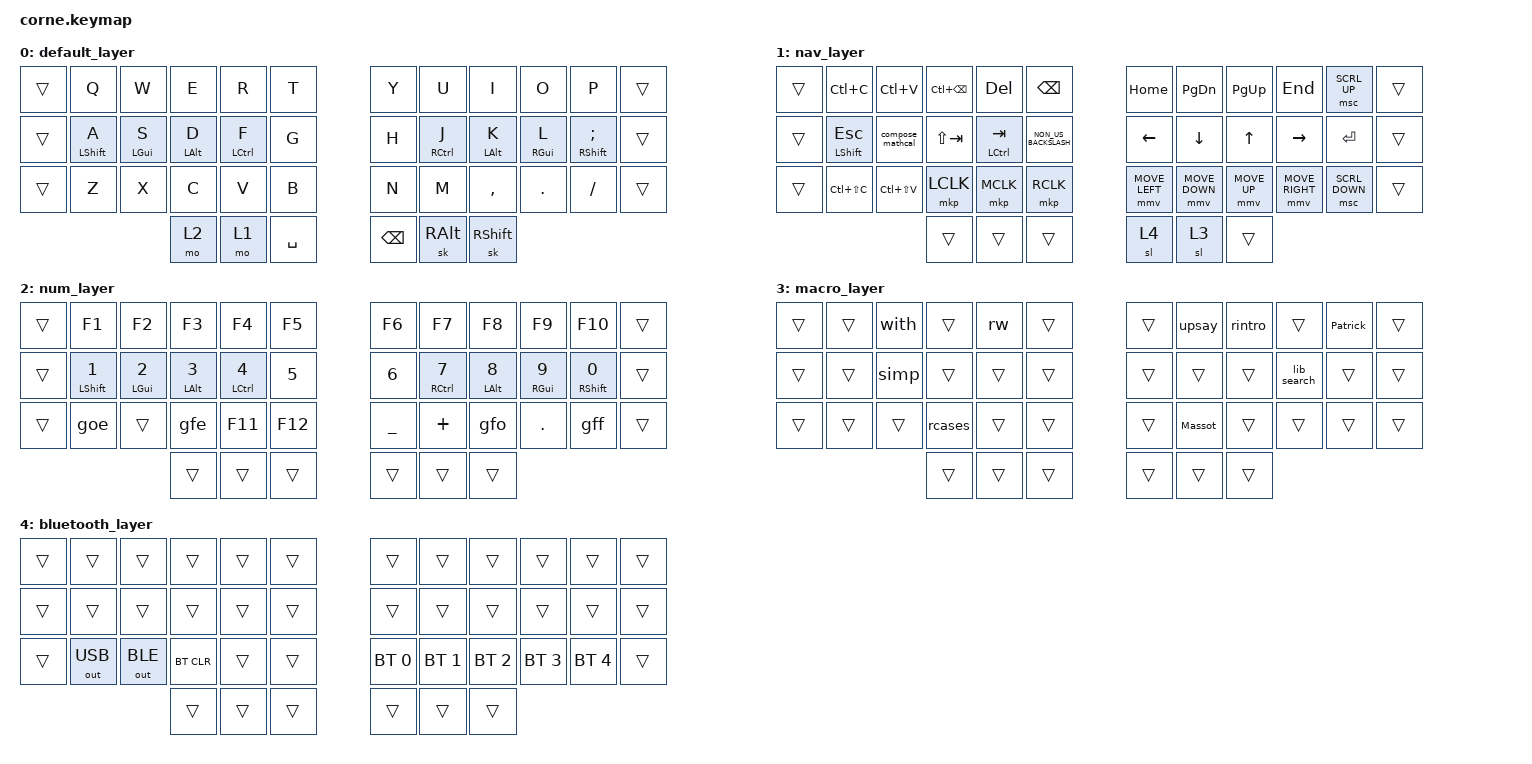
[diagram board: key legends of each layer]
/*
 * Copyright (c) 2020 The ZMK Contributors
 *
 * SPDX-License-Identifier: MIT
 */

#include <behaviors.dtsi>
#include <dt-bindings/zmk/bt.h>
#include <dt-bindings/zmk/keys.h>
#include <dt-bindings/zmk/keys.h>
#include <dt-bindings/zmk/outputs.h>
#include <dt-bindings/zmk/pointing.h>

&mt {
    flavor = "balanced";
    tapping-term-ms = <200>;
};

/ {
    combos {
        compatible = "zmk,combos";
        require-prior-idle-ms = <100>;
        timeout-ms = <65>;

        ENTER_COMBO {
            bindings = <&kp ENTER>;
            key-positions = <19 20>;
        };
        
	ENTER_COMBO2 {
            bindings = <&kp ENTER>;
            key-positions = <20 21>;
        };

    };

    macros {
        Patrick: Patrick_macro {
            compatible = "zmk,behavior-macro";
            #binding-cells = <0>;
            bindings = <&kp LS(P) &kp A &kp T &kp R &kp I &kp C &kp K>;
            label = "PATRICK_MACRO";
        };

        Massot: Massot_macro {
            compatible = "zmk,behavior-macro";
            #binding-cells = <0>;
            bindings = <&kp SPACE &kp LS(M) &kp A &kp S &kp S &kp O &kp T>;
            label = "MASSOT_MACRO";
        };

        gfo: gfo {
            compatible = "zmk,behavior-macro";
            #binding-cells = <0>;
            bindings = <&kt LEFT_SHIFT &kp N9 &kp SPACE &kt LSHFT>;
            label = "GFO";
        };

        gff: gff {
            compatible = "zmk,behavior-macro";
            #binding-cells = <0>;
            bindings = <&kt LEFT_SHIFT &kp SPACE &kp N0 &kt LSHFT>;
            label = "GFF";
        };

        goe: goe {
            compatible = "zmk,behavior-macro";
            #binding-cells = <0>;
            bindings = <&kp SEMICOLON &kp NUMBER_2>;
            label = "GOE";
        };

        gfe: gfe {
            compatible = "zmk,behavior-macro";
            #binding-cells = <0>;
            bindings = <&kp SEMICOLON &kp NUMBER_3>;
            label = "GFE";
        };

        rintro: rintro {
            compatible = "zmk,behavior-macro";
            #binding-cells = <0>;
            bindings = <&kp R &kp I &kp N &kp T &kp R &kp O>;
            label = "RINTRO";
        };

        rcases: rcases {
            compatible = "zmk,behavior-macro";
            #binding-cells = <0>;
            bindings = <&kp R &kp C &kp A &kp S &kp E &kp S>;
            label = "RCASES";
        };

        with: with {
            compatible = "zmk,behavior-macro";
            #binding-cells = <0>;
            bindings = <&kp W &kp I &kp T &kp H>;
            label = "WITH";
        };

        lib_search: lib_search {
            compatible = "zmk,behavior-macro";
            #binding-cells = <0>;
            bindings = <&kp A &kp P &kp P &kp L &kp Y &kp QMARK>;
            label = "LIB_SEARCH";
        };

        simp: simp {
            compatible = "zmk,behavior-macro";
            #binding-cells = <0>;
            bindings = <&kp S &kp I &kp M &kp P &kp SPACE &kp LBKT &kp RIGHT_BRACKET &kp LEFT>;
            label = "SIMP";
        };

        rw: rw {
            compatible = "zmk,behavior-macro";
            #binding-cells = <0>;
            bindings = <&kp R &kp W &kp SPACE &kp LBKT &kp RIGHT_BRACKET &kp LEFT>;
            label = "RW";
        };

        upsay: upsay {
            compatible = "zmk,behavior-macro";
            #binding-cells = <0>;
            bindings = <&none &kp U &kp N &kp I &kp V &kp E &kp R &kp S &kp I &kp T &kp E &kp MINUS &kp P &kp A &kp R &kp I &kp S &kp MINUS &kp S &kp A &kp C &kp L &kp A &kp Y &kp DOT &kp F &kp R>;
            label = "UPSAY";
        };
        compose_mathcal: compose_mathcal {
            compatible = "zmk,behavior-macro";
            #binding-cells = <0>;
            bindings = <&kp NON_US_BACKSLASH  &kp AMPS> ;
            label = "COMPOSE_MATHCAL";
        };
    };

    keymap {
        compatible = "zmk,keymap";

        default_layer {
            bindings = <
&trans  &kp Q             &kp W           &kp E           &kp R        &kp T        &kp Y          &kp U        &kp I            &kp O       &kp P                 &trans
&trans  &mt LEFT_SHIFT A  &mt LEFT_GUI S  &mt LEFT_ALT D  &mt LCTRL F  &kp G        &kp H          &mt RCTRL J  &mt LEFT_ALT K   &mt RGUI L  &mt RSHIFT SEMICOLON  &trans
&trans  &kp Z             &kp X           &kp C           &kp V        &kp B        &kp N          &kp M        &kp COMMA        &kp DOT     &kp FSLH              &trans
                                          &mo 2           &mo 1        &kp SPACE    &kp BACKSPACE  &sk RALT     &sk RIGHT_SHIFT
            >;
        };

        nav_layer {
            bindings = <
&trans  &kp LC(C)       &kp LC(V)        &kp LC(BACKSPACE) &kp DELETE    &kp BACKSPACE        &kp HOME       &kp PAGE_DOWN  &kp PG_UP     &kp END         &msc SCRL_UP   &trans
&trans  &mt LSHIFT ESC  &compose_mathcal &kp LS(TAB)       &mt LCTRL TAB &kp NON_US_BACKSLASH &kp LEFT       &kp DOWN       &kp UP        &kp RIGHT       &kp ENTER      &trans
&trans  &kp LC(LS(C))   &kp LC(LS(V))    &mkp LCLK         &mkp MCLK     &mkp RCLK            &mmv MOVE_LEFT &mmv MOVE_DOWN &mmv MOVE_UP  &mmv MOVE_RIGHT &msc SCRL_DOWN &trans
                                    &trans             &trans      &trans           &sl 4        &sl 3          &trans
            >;
        };

        num_layer {
            bindings = <
 &trans &kp F1                  &kp F2                &kp F3                &kp F4             &kp F5       &kp F6       &kp F7             &kp F8                &kp F9            &kp F10             &trans
 &trans &mt LEFT_SHIFT NUMBER_1 &mt LEFT_GUI NUMBER_2 &mt LEFT_ALT NUMBER_3 &mt LCTRL NUMBER_4 &kp NUMBER_5 &kp NUMBER_6 &mt RCTRL NUMBER_7 &mt LEFT_ALT NUMBER_8 &mt RGUI NUMBER_9 &mt RSHIFT NUMBER_0 &trans
 &trans &goe                    &trans                &gfe                  &kp F11            &kp F12      &kp UNDER    &kp PLUS           &gfo                  &kp DOT           &gff                &trans
 &trans &trans                  &trans                &trans                &trans             &trans
            >;
        };

        macro_layer {
            bindings = <
&trans  &trans  &with   &trans   &rw     &trans    &trans  &upsay   &rintro  &trans       &Patrick  &trans
&trans  &trans  &simp   &trans   &trans  &trans    &trans  &trans   &trans   &lib_search  &trans    &trans
&trans  &trans  &trans  &rcases  &trans  &trans    &trans  &Massot  &trans   &trans       &trans    &trans
                        &trans   &trans  &trans    &trans  &trans   &trans
            >;
        };

        bluetooth_layer {
            bindings = <
&trans  &trans        &trans        &trans      &trans  &trans    &trans        &trans        &trans        &trans        &trans        &trans
&trans  &trans        &trans        &trans      &trans  &trans    &trans        &trans        &trans        &trans        &trans        &trans
&trans  &out OUT_USB  &out OUT_BLE  &bt BT_CLR  &trans  &trans    &bt BT_SEL 0  &bt BT_SEL 1  &bt BT_SEL 2  &bt BT_SEL 3  &bt BT_SEL 4  &trans
                                    &trans      &trans  &trans    &trans        &trans        &trans
            >;
        };
    };
};
